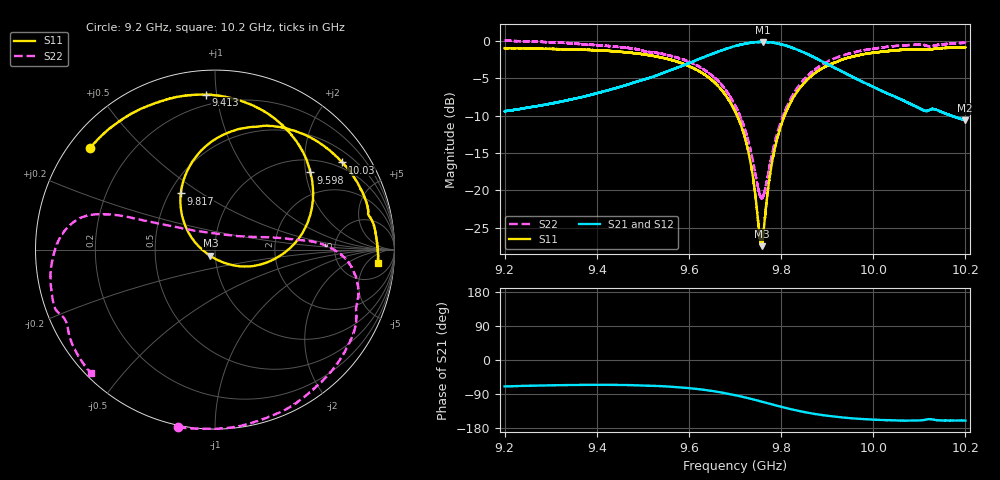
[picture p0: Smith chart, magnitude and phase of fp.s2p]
!Agilent Technologies,N5242A,MY51221714,A.09.90.19
!Agilent N5242A: A.09.90.19
!Date: Tuesday, March 26, 2024 17:03:01
!Correction: S11(Full 2 Port(1,2))
!S21(Full 2 Port(1,2))
!S12(Full 2 Port(1,2))
!S22(Full 2 Port(1,2))
!S2P File: Measurements: S11, S21, S12, S22:
# Hz S  dB  R 50
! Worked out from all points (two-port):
!   16001 points, 9.2 GHz to 10.2 GHz, reference 50 ohm
!   highest |S21| = -0.09 dB at 9.761 GHz (marker M1); lowest = -10.6 dB at 10.2 GHz (marker M2)
!   |S21| within 3 dB of the highest: 9.593927 GHz to 9.593962 GHz (34.92 kHz wide, 0.000364 % of centre); 9.594 GHz to 9.901 GHz (307 MHz wide, 3.15 % of centre)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
!   lowest |S11| = -27.5 dB at 9.758 GHz (marker M3), VSWR 1.09, Z = 47.4 - j3.16 ohm
!   |S11| at or under -10 dB: 9.704561 GHz to 9.704572 GHz (10.05 kHz wide, 0.000104 % of centre); 9.705 GHz to 9.808 GHz (102.9 MHz wide, 1.05 % of centre)
!   |S22| runs from -21.1 to 0.1 dB; largest |S21 - S12| = 0.014
!   S11 on the Smith chart (normalised r, x): 9.2 GHz: 0.06, +0.36; 9.413 GHz: 0.14, +0.93; 9.598 GHz: 1.32, +2.13; 9.817 GHz: 0.57, +0.41; 10.03 GHz: 0.81, +3.04; 10.2 GHz: 12, -11
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9.2e9  -0.94 140.7  -9.38 -69.8  -9.36 -70.5  0.09 -101.7
9.277188e9  -1.01 124.4  -8.63 -67.4  -8.61 -68.1  -0.08 -80.4
9.366688e9  -1.14 104.5  -7.51 -65.8  -7.49 -66.4  -0.41 -56.5
9.412938e9  -1.27 93.4  -6.79 -65.6  -6.77 -66.3  -0.60 -44.5
9.533375e9  -2.11 60.6  -4.51 -68.7  -4.50 -69.3  -1.59 -16.0
9.59825e9  -3.30 39.0  -3.00 -74.1  -2.98 -74.7  -2.71 -4.2
9.651375e9  -5.29 17.0  -1.68 -81.9  -1.68 -82.5  -4.67 3.4
9.7e9  -9.37 -8.6  -0.65 -92.7  -0.65 -93.3  -8.56 10.0
9.730438e9  -15.25 -33.0  -0.25 -101.2  -0.23 -101.9  -13.74 20.3
9.740938e9  -19.06 -46.9  -0.16 -104.5  -0.14 -105.1  -16.73 31.5
9.75325e9  -26.08 -90.6  -0.11 -108.3  -0.10 -109.0  -20.44 62.9
9.75775e9  -27.47 -128.0  -0.11 -109.9  -0.09 -110.5  -21.02 82.0
9.761312e9  -26.06 -155.9  -0.09 -110.9  -0.09 -111.6  -20.84 96.4
9.78375e9  -15.15 147.5  -0.22 -118.2  -0.22 -118.9  -14.23 144.3
9.816562e9  -8.71 121.4  -0.72 -128.3  -0.72 -129.0  -8.24 156.6
9.866688e9  -4.62 93.8  -2.01 -141.0  -2.02 -141.6  -4.15 161.6
9.937812e9  -2.36 64.5  -4.25 -152.1  -4.25 -152.8  -1.84 169.5
1.003338e10  -1.32 34.6  -7.09 -158.8  -7.07 -159.5  -0.74 -173.8
1.003412e10  -1.31 34.4  -7.09 -158.9  -7.09 -159.4  -0.72 -173.6
1.010281e10  -1.08 16.4  -9.08 -159.4  -9.09 -159.9  -0.46 -159.8
1.019969e10  -0.82 -4.6  -10.61 -159.8  -10.59 -160.4  -0.22 -135.4
1.02e10  -0.80 -4.7  -10.60 -159.8  -10.60 -160.4  -0.23 -135.3
